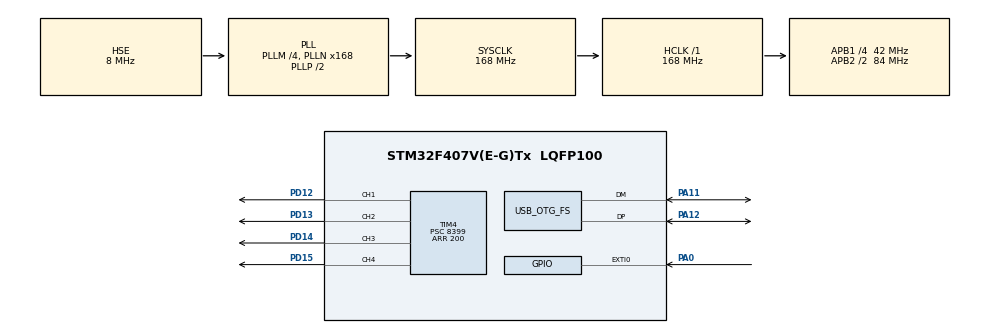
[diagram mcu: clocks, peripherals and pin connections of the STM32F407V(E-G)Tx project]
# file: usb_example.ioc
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FREERTOS.Tasks01=defaultTask,0,128,StartDefaultTask,Default,NULL
Mcu.Family=STM32F4
Mcu.Name=STM32F407V(E-G)Tx
Mcu.Package=LQFP100
NVIC.EXTI0_IRQn=true\:6\:0\:true\:false\:true\:true\:true
NVIC.OTG_FS_IRQn=true\:5\:0\:false\:false\:true\:true\:false
NVIC.PriorityGroup=NVIC_PRIORITYGROUP_4
NVIC.TIM6_DAC_IRQn=true\:0\:0\:false\:false\:true\:false\:false
NVIC.TimeBase=TIM6_DAC_IRQn
NVIC.TimeBaseIP=TIM6
PA0-WKUP.Signal=GPXTI0
PA11.Mode=Device_Only
PA11.Signal=USB_OTG_FS_DM
PA12.Mode=Device_Only
PA12.Signal=USB_OTG_FS_DP
PD12.Signal=S_TIM4_CH1
PD13.Signal=S_TIM4_CH2
PD14.Signal=S_TIM4_CH3
PD15.Signal=S_TIM4_CH4
PH0-OSC_IN.Mode=HSE-External-Oscillator
PH0-OSC_IN.Signal=RCC_OSC_IN
PH1-OSC_OUT.Mode=HSE-External-Oscillator
PH1-OSC_OUT.Signal=RCC_OSC_OUT
ProjectManager.HeapSize=0x200
ProjectManager.StackSize=0x400
ProjectManager.TargetToolchain=MDK-ARM V5
RCC.48MHZClocksFreq_Value=48000000
RCC.AHBFreq_Value=168000000
RCC.APB1CLKDivider=RCC_HCLK_DIV4
RCC.APB1Freq_Value=42000000
RCC.APB1TimFreq_Value=84000000
RCC.APB2CLKDivider=RCC_HCLK_DIV2
RCC.APB2Freq_Value=84000000
RCC.APB2TimFreq_Value=168000000
RCC.CortexFreq_Value=168000000
RCC.HCLKFreq_Value=168000000
RCC.HSE_VALUE=8000000
RCC.HSI_VALUE=16000000
RCC.LSE_VALUE=32768
RCC.PLLM=4
RCC.PLLN=168
RCC.PLLQ=7
RCC.SYSCLKFreq_VALUE=168000000
RCC.SYSCLKSource=RCC_SYSCLKSOURCE_PLLCLK
RCC.VCOOutputFreq_Value=336000000
SH.S_TIM4_CH1.0=TIM4_CH1,PWM Generation1 CH1
SH.S_TIM4_CH2.0=TIM4_CH2,PWM Generation2 CH2
SH.S_TIM4_CH3.0=TIM4_CH3,PWM Generation3 CH3
SH.S_TIM4_CH4.0=TIM4_CH4,PWM Generation4 CH4
TIM4.Channel-PWM\ Generation1\ CH1=TIM_CHANNEL_1
TIM4.Channel-PWM\ Generation2\ CH2=TIM_CHANNEL_2
TIM4.Channel-PWM\ Generation3\ CH3=TIM_CHANNEL_3
TIM4.Channel-PWM\ Generation4\ CH4=TIM_CHANNEL_4
TIM4.Period=200
TIM4.Prescaler=8399
USB_DEVICE.CLASS_NAME_FS=CDC
USB_DEVICE.USBD_MAX_STR_DESC_SIZ-CDC_FS=512
USB_DEVICE.VirtualMode-CDC_FS=Cdc
USB_DEVICE.VirtualModeFS=Cdc_FS
USB_OTG_FS.VirtualMode=Device_Only
VP_FREERTOS_VS_ENABLE.Mode=Enabled
VP_SYS_VS_tim6.Mode=TIM6
VP_USB_DEVICE_VS_USB_DEVICE_CDC_FS.Mode=CDC_FS
board=custom

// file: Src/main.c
/**
  ******************************************************************************
  * @file           : main.c
  * @brief          : Main program body
  ******************************************************************************
  * This notice applies to any and all portions of this file
  * that are not between comment pairs USER CODE BEGIN and
  * USER CODE END. Other portions of this file, whether
  * inserted by the user or by software development tools
  * are owned by their respective copyright owners.
  *
  * Copyright (c) 2019 STMicroelectronics International N.V.
  * All rights reserved.
  *
  * Redistribution and use in source and binary forms, with or without
  * modification, are permitted, provided that the following conditions are met:
  *
  * 1. Redistribution of source code must retain the above copyright notice,
  *    this list of conditions and the following disclaimer.
  * 2. Redistributions in binary form must reproduce the above copyright notice,
  *    this list of conditions and the following disclaimer in the documentation
  *    and/or other materials provided with the distribution.
  * 3. Neither the name of STMicroelectronics nor the names of other
  *    contributors to this software may be used to endorse or promote products
  *    derived from this software without specific written permission.
  * 4. This software, including modifications and/or derivative works of this
  *    software, must execute solely and exclusively on microcontroller or
  *    microprocessor devices manufactured by or for STMicroelectronics.
  * 5. Redistribution and use of this software other than as permitted under
  *    this license is void and will automatically terminate your rights under
  *    this license.
  *
  * THIS SOFTWARE IS PROVIDED BY STMICROELECTRONICS AND CONTRIBUTORS "AS IS"
  * AND ANY EXPRESS, IMPLIED OR STATUTORY WARRANTIES, INCLUDING, BUT NOT
  * LIMITED TO, THE IMPLIED WARRANTIES OF MERCHANTABILITY, FITNESS FOR A
  * PARTICULAR PURPOSE AND NON-INFRINGEMENT OF THIRD PARTY INTELLECTUAL PROPERTY
  * RIGHTS ARE DISCLAIMED TO THE FULLEST EXTENT PERMITTED BY LAW. IN NO EVENT
  * SHALL STMICROELECTRONICS OR CONTRIBUTORS BE LIABLE FOR ANY DIRECT, INDIRECT,
  * INCIDENTAL, SPECIAL, EXEMPLARY, OR CONSEQUENTIAL DAMAGES (INCLUDING, BUT NOT
  * LIMITED TO, PROCUREMENT OF SUBSTITUTE GOODS OR SERVICES; LOSS OF USE, DATA,
  * OR PROFITS; OR BUSINESS INTERRUPTION) HOWEVER CAUSED AND ON ANY THEORY OF
  * LIABILITY, WHETHER IN CONTRACT, STRICT LIABILITY, OR TORT (INCLUDING
  * NEGLIGENCE OR OTHERWISE) ARISING IN ANY WAY OUT OF THE USE OF THIS SOFTWARE,
  * EVEN IF ADVISED OF THE POSSIBILITY OF SUCH DAMAGE.
  *
  ******************************************************************************
  */
#include "main.h"
#include "stm32f4xx_hal.h"
#include "cmsis_os.h"
#include "usb_device.h"

/* USER CODE BEGIN Includes */
#define COUNTER_PERIOD			200
#define MY_FLASH_PAGE_ADDR 	0x080E0000

#include "usbd_cdc_if.h"
/* USER CODE END Includes */

TIM_HandleTypeDef htim4;

osThreadId defaultTaskHandle;

/* USER CODE BEGIN PV */
/* Private variables ---------------------------------------------------------*/
osThreadId saveTaskHandle;

osMessageQId msgQueueHandle;
xSemaphoreHandle save_semaphore;
xSemaphoreHandle array_semaphore;

//array for all 4 leds
uint8_t brightness_percentage[4];
uint32_t flash_buffer; //4-bytes
/* USER CODE END PV */

void SystemClock_Config(void);
static void MX_GPIO_Init(void);
static void MX_TIM4_Init(void);
void StartDefaultTask(void const * argument);
void HAL_TIM_MspPostInit(TIM_HandleTypeDef *htim);

/* USER CODE BEGIN PFP */
/* Private function prototypes -----------------------------------------------*/
void StartSaveTask(void const * argument);

void FLASH_Read(void);
void FLASH_Write(void);
void set_brightness(void);

/* USER CODE END PFP */

int main(void)
{

  /* MCU Configuration----------------------------------------------------------*/

  /* Reset of all peripherals, Initializes the Flash interface and the Systick. */
  HAL_Init();

  /* Configure the system clock */
  SystemClock_Config();

  /* Initialize all configured peripherals */
  MX_GPIO_Init();
  MX_TIM4_Init();
  /* USER CODE BEGIN 2 */

	//read brightess values from FLASH
	FLASH_Read();

	//start pwm
	HAL_TIM_PWM_Start(&htim4, TIM_CHANNEL_1);
	HAL_TIM_PWM_Start(&htim4, TIM_CHANNEL_2);
	HAL_TIM_PWM_Start(&htim4, TIM_CHANNEL_3);
	HAL_TIM_PWM_Start(&htim4, TIM_CHANNEL_4);

	set_brightness();
  /* USER CODE END 2 */

  /* USER CODE BEGIN RTOS_SEMAPHORES */
	save_semaphore = xSemaphoreCreateBinary();
	array_semaphore = xSemaphoreCreateBinary();
	xSemaphoreGive(array_semaphore);

  /* USER CODE END RTOS_SEMAPHORES */

  /* Create the thread(s) */
  /* definition and creation of defaultTask */
  osThreadDef(defaultTask, StartDefaultTask, osPriorityNormal, 0, 128);
  defaultTaskHandle = osThreadCreate(osThread(defaultTask), NULL);

  /* USER CODE BEGIN RTOS_THREADS */
  osThreadDef(saveTask, StartSaveTask, osPriorityNormal, 0, 128);
  saveTaskHandle = osThreadCreate(osThread(saveTask), NULL);
  /* USER CODE END RTOS_THREADS */

  /* USER CODE BEGIN RTOS_QUEUES */
  osMessageQDef(msgQueue, 1, sizeof(brightness_percentage) * sizeof(uint8_t));
  msgQueueHandle = osMessageCreate(osMessageQ(msgQueue), NULL);
  /* USER CODE END RTOS_QUEUES */

  /* Start scheduler */
  osKernelStart();

  /* We should never get here as control is now taken by the scheduler */

  /* Infinite loop */
  while (1)
  {

  }

}

void SystemClock_Config(void)
{

  RCC_OscInitTypeDef RCC_OscInitStruct;
  RCC_ClkInitTypeDef RCC_ClkInitStruct;

    /**Configure the main internal regulator output voltage
    */
  __HAL_RCC_PWR_CLK_ENABLE();

  __HAL_PWR_VOLTAGESCALING_CONFIG(PWR_REGULATOR_VOLTAGE_SCALE1);

    /**Initializes the CPU, AHB and APB busses clocks
    */
  RCC_OscInitStruct.OscillatorType = RCC_OSCILLATORTYPE_HSE;
  RCC_OscInitStruct.HSEState = RCC_HSE_ON;
  RCC_OscInitStruct.PLL.PLLState = RCC_PLL_ON;
  RCC_OscInitStruct.PLL.PLLSource = RCC_PLLSOURCE_HSE;
  RCC_OscInitStruct.PLL.PLLM = 4;
  RCC_OscInitStruct.PLL.PLLN = 168;
  RCC_OscInitStruct.PLL.PLLP = RCC_PLLP_DIV2;
  RCC_OscInitStruct.PLL.PLLQ = 7;
  if (HAL_RCC_OscConfig(&RCC_OscInitStruct) != HAL_OK)
  {
    _Error_Handler(__FILE__, __LINE__);
  }

    /**Initializes the CPU, AHB and APB busses clocks
    */
  RCC_ClkInitStruct.ClockType = RCC_CLOCKTYPE_HCLK|RCC_CLOCKTYPE_SYSCLK
                              |RCC_CLOCKTYPE_PCLK1|RCC_CLOCKTYPE_PCLK2;
  RCC_ClkInitStruct.SYSCLKSource = RCC_SYSCLKSOURCE_PLLCLK;
  RCC_ClkInitStruct.AHBCLKDivider = RCC_SYSCLK_DIV1;
  RCC_ClkInitStruct.APB1CLKDivider = RCC_HCLK_DIV4;
  RCC_ClkInitStruct.APB2CLKDivider = RCC_HCLK_DIV2;

  if (HAL_RCC_ClockConfig(&RCC_ClkInitStruct, FLASH_LATENCY_5) != HAL_OK)
  {
    _Error_Handler(__FILE__, __LINE__);
  }

    /**Configure the Systick interrupt time
    */
  HAL_SYSTICK_Config(HAL_RCC_GetHCLKFreq()/1000);

    /**Configure the Systick
    */
  HAL_SYSTICK_CLKSourceConfig(SYSTICK_CLKSOURCE_HCLK);

  /* SysTick_IRQn interrupt configuration */
  HAL_NVIC_SetPriority(SysTick_IRQn, 15, 0);
}

/* TIM4 init function */
static void MX_TIM4_Init(void)
{

  TIM_MasterConfigTypeDef sMasterConfig;
  TIM_OC_InitTypeDef sConfigOC;

  htim4.Instance = TIM4;
  htim4.Init.Prescaler = 8399;
  htim4.Init.CounterMode = TIM_COUNTERMODE_UP;
  htim4.Init.Period = COUNTER_PERIOD;
  htim4.Init.ClockDivision = TIM_CLOCKDIVISION_DIV1;
  if (HAL_TIM_PWM_Init(&htim4) != HAL_OK)
  {
    _Error_Handler(__FILE__, __LINE__);
  }

  sMasterConfig.MasterOutputTrigger = TIM_TRGO_RESET;
  sMasterConfig.MasterSlaveMode = TIM_MASTERSLAVEMODE_DISABLE;
  if (HAL_TIMEx_MasterConfigSynchronization(&htim4, &sMasterConfig) != HAL_OK)
  {
    _Error_Handler(__FILE__, __LINE__);
  }

  sConfigOC.OCMode = TIM_OCMODE_PWM1;
  sConfigOC.Pulse = 0;
  sConfigOC.OCPolarity = TIM_OCPOLARITY_HIGH;
  sConfigOC.OCFastMode = TIM_OCFAST_DISABLE;
  if (HAL_TIM_PWM_ConfigChannel(&htim4, &sConfigOC, TIM_CHANNEL_1) != HAL_OK)
  {
    _Error_Handler(__FILE__, __LINE__);
  }

  if (HAL_TIM_PWM_ConfigChannel(&htim4, &sConfigOC, TIM_CHANNEL_2) != HAL_OK)
  {
    _Error_Handler(__FILE__, __LINE__);
  }

  if (HAL_TIM_PWM_ConfigChannel(&htim4, &sConfigOC, TIM_CHANNEL_3) != HAL_OK)
  {
    _Error_Handler(__FILE__, __LINE__);
  }

  if (HAL_TIM_PWM_ConfigChannel(&htim4, &sConfigOC, TIM_CHANNEL_4) != HAL_OK)
  {
    _Error_Handler(__FILE__, __LINE__);
  }

  HAL_TIM_MspPostInit(&htim4);

}

/** Configure pins as
        * Analog
        * Input
        * Output
        * EVENT_OUT
        * EXTI
*/
static void MX_GPIO_Init(void)
{

  GPIO_InitTypeDef GPIO_InitStruct;

  /* GPIO Ports Clock Enable */
  __HAL_RCC_GPIOH_CLK_ENABLE();
  __HAL_RCC_GPIOA_CLK_ENABLE();
  __HAL_RCC_GPIOD_CLK_ENABLE();

  /*Configure GPIO pin : PA0 */
  GPIO_InitStruct.Pin = GPIO_PIN_0;
  GPIO_InitStruct.Mode = GPIO_MODE_IT_RISING;
  GPIO_InitStruct.Pull = GPIO_NOPULL;
  HAL_GPIO_Init(GPIOA, &GPIO_InitStruct);

  /* EXTI interrupt init*/
  HAL_NVIC_SetPriority(EXTI0_IRQn, 6, 0);
  HAL_NVIC_EnableIRQ(EXTI0_IRQn);

}

/* USER CODE BEGIN 4 */
void StartSaveTask(void const * argument)
{
	char saved_msg[] = "SAVED!\r\n";
	for (;;)
	{
		xSemaphoreTake(save_semaphore, portMAX_DELAY);

		//wait for access
		xSemaphoreTake(array_semaphore, portMAX_DELAY);

		FLASH_Write();

		//transmit success msg
		CDC_Transmit_FS((uint8_t *) saved_msg, sizeof(saved_msg) - 1);

		//give access
		xSemaphoreGive(array_semaphore);
	}
}

void FLASH_Read(void)
{
  //Read settings
  uint32_t *source_addr = (uint32_t *) MY_FLASH_PAGE_ADDR;
	flash_buffer = *source_addr;
	memcpy(brightness_percentage, &flash_buffer, sizeof(brightness_percentage));
}

void FLASH_Write(void)
{
	memcpy(&flash_buffer, brightness_percentage, sizeof(flash_buffer));
	HAL_FLASH_Unlock();
  __HAL_FLASH_CLEAR_FLAG(FLASH_FLAG_EOP | FLASH_FLAG_OPERR | FLASH_FLAG_WRPERR | FLASH_FLAG_PGAERR | FLASH_FLAG_PGSERR );
  FLASH_Erase_Sector(FLASH_SECTOR_11, VOLTAGE_RANGE_3);
  HAL_FLASH_Program(TYPEPROGRAM_WORD, MY_FLASH_PAGE_ADDR, flash_buffer);
  HAL_FLASH_Lock();
}

void set_brightness(void)
{
	TIM4->CCR1 = (COUNTER_PERIOD + 1) * brightness_percentage[0] / 100;
	TIM4->CCR2 = (COUNTER_PERIOD + 1) * brightness_percentage[1] / 100;
	TIM4->CCR3 = (COUNTER_PERIOD + 1) * brightness_percentage[2] / 100;
	TIM4->CCR4 = (COUNTER_PERIOD + 1) * brightness_percentage[3] / 100;
}

/* USER CODE END 4 */

/* StartDefaultTask function */
void StartDefaultTask(void const * argument)
{
  /* init code for USB_DEVICE */
  MX_USB_DEVICE_Init();

  /* USER CODE BEGIN 5 */
	//buffer for queue
	uint8_t brightness_percentage_buffer[4];

	//msg to transmit when brigntness is successfully changed
	char ok_msg[] = "OK!\r\n";

  /* Infinite loop */
  for(;;)
  {
		//wait for queue
		xQueueReceive(msgQueueHandle, brightness_percentage_buffer, portMAX_DELAY);

		//wait for access
		xSemaphoreTake(array_semaphore, portMAX_DELAY);

		//copy from buffer
		memcpy(brightness_percentage, brightness_percentage_buffer, sizeof(brightness_percentage));

		//change duty cycle
		set_brightness();

		//transmit success msg
		CDC_Transmit_FS((uint8_t *) ok_msg, sizeof(ok_msg) - 1);

		//give access
		xSemaphoreGive(array_semaphore);
  }
  /* USER CODE END 5 */
}

void HAL_TIM_PeriodElapsedCallback(TIM_HandleTypeDef *htim)
{
  if (htim->Instance == TIM6) {
    HAL_IncTick();
  }
}

void _Error_Handler(char *file, int line)
{
  while(1)
  {
  }
}

/************************ (C) COPYRIGHT STMicroelectronics *****END OF FILE****/
